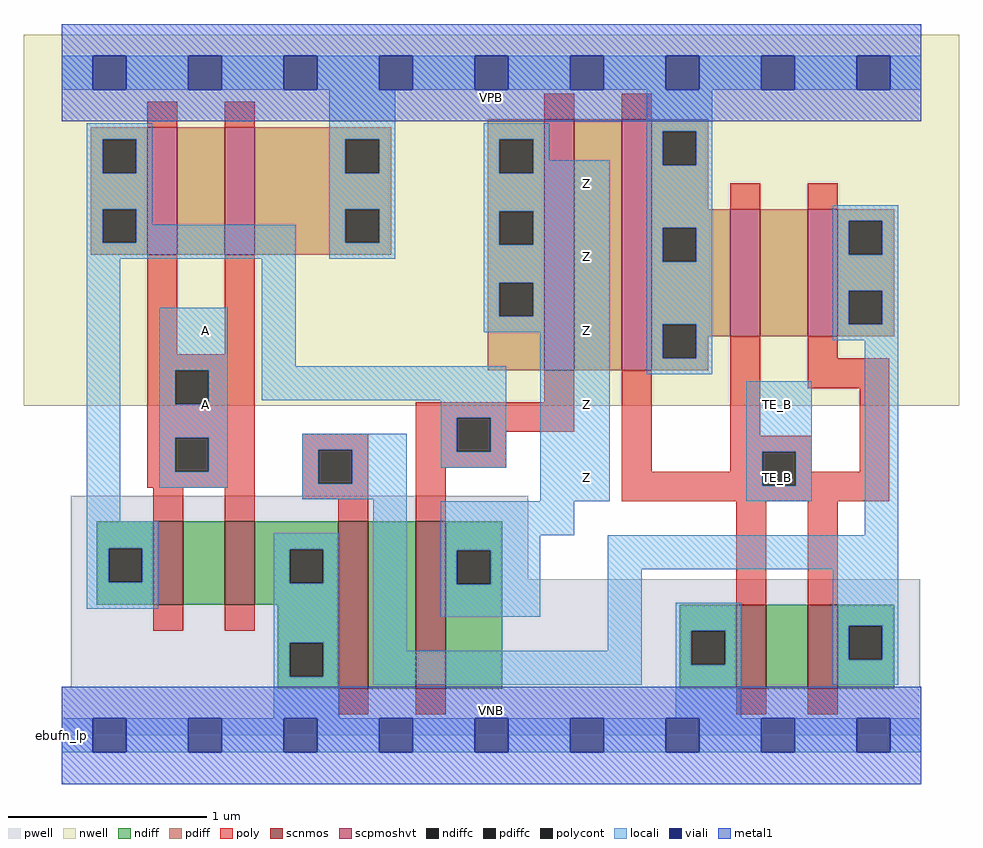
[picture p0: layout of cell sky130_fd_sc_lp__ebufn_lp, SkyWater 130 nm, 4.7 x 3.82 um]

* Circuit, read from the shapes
.subckt sky130_fd_sc_lp__ebufn_lp A TE_B VGND VNB VPB VPWR Z
XM1 n1 A n2 VNB sky130_fd_pr__nfet_01v8 w=0.42 l=0.15
XM2 VGND A n1 VNB sky130_fd_pr__nfet_01v8 w=0.42 l=0.15
XM3 n3 n4 VGND VNB sky130_fd_pr__nfet_01v8 w=0.84 l=0.15
XM4 Z n2 n3 VNB sky130_fd_pr__nfet_01v8 w=0.84 l=0.15
XM5 n5 TE_B VGND VNB sky130_fd_pr__nfet_01v8 w=0.42 l=0.15
XM6 n4 TE_B n5 VNB sky130_fd_pr__nfet_01v8 w=0.42 l=0.15
XM7 n6 A n2 VPB sky130_fd_pr__pfet_01v8_hvt w=0.64 l=0.15
XM8 VPWR A n6 VPB sky130_fd_pr__pfet_01v8_hvt w=0.64 l=0.15
XM9 n7 n2 Z VPB sky130_fd_pr__pfet_01v8_hvt w=1.26 l=0.15
XM10 VPWR TE_B n7 VPB sky130_fd_pr__pfet_01v8_hvt w=1.26 l=0.15
XM11 n8 TE_B VPWR VPB sky130_fd_pr__pfet_01v8_hvt w=0.64 l=0.15
XM12 n4 TE_B n8 VPB sky130_fd_pr__pfet_01v8_hvt w=0.64 l=0.15
.ends

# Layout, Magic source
magic
tech sky130A
magscale 1 2
<< nwell >>
rect -38 331 902 704
<< pwell >>
rect 9 157 469 241
rect 9 49 863 157
rect 0 0 864 49
<< scnmos >>
rect 92 131 122 215
rect 164 131 194 215
rect 278 47 308 215
rect 356 47 386 215
rect 678 47 708 131
rect 750 47 780 131
<< scpmoshvt >>
rect 86 483 116 611
rect 164 483 194 611
rect 485 367 515 619
rect 563 367 593 619
rect 672 401 702 529
rect 750 401 780 529
<< ndiff >>
rect 35 188 92 215
rect 35 154 47 188
rect 81 154 92 188
rect 35 131 92 154
rect 122 131 164 215
rect 194 187 278 215
rect 194 153 229 187
rect 263 153 278 187
rect 194 131 278 153
rect 217 93 278 131
rect 217 59 229 93
rect 263 59 278 93
rect 217 47 278 59
rect 308 47 356 215
rect 386 186 443 215
rect 386 152 397 186
rect 431 152 443 186
rect 386 47 443 152
rect 621 105 678 131
rect 621 71 633 105
rect 667 71 678 105
rect 621 47 678 71
rect 708 47 750 131
rect 780 110 837 131
rect 780 76 791 110
rect 825 76 837 110
rect 780 47 837 76
<< pdiff >>
rect 29 599 86 611
rect 29 565 41 599
rect 75 565 86 599
rect 29 529 86 565
rect 29 495 41 529
rect 75 495 86 529
rect 29 483 86 495
rect 116 483 164 611
rect 194 599 331 611
rect 194 565 285 599
rect 319 565 331 599
rect 194 529 331 565
rect 194 495 285 529
rect 319 495 331 529
rect 194 483 331 495
rect 428 599 485 619
rect 428 565 440 599
rect 474 565 485 599
rect 428 527 485 565
rect 428 493 440 527
rect 474 493 485 527
rect 428 455 485 493
rect 428 421 440 455
rect 474 421 485 455
rect 428 367 485 421
rect 515 367 563 619
rect 593 607 650 619
rect 593 573 604 607
rect 638 573 650 607
rect 593 529 650 573
rect 593 510 672 529
rect 593 476 604 510
rect 638 476 672 510
rect 593 413 672 476
rect 593 379 604 413
rect 638 401 672 413
rect 702 401 750 529
rect 780 517 837 529
rect 780 483 791 517
rect 825 483 837 517
rect 780 447 837 483
rect 780 413 791 447
rect 825 413 837 447
rect 780 401 837 413
rect 638 379 650 401
rect 593 367 650 379
<< ndiffc >>
rect 47 154 81 188
rect 229 153 263 187
rect 229 59 263 93
rect 397 152 431 186
rect 633 71 667 105
rect 791 76 825 110
<< pdiffc >>
rect 41 565 75 599
rect 41 495 75 529
rect 285 565 319 599
rect 285 495 319 529
rect 440 565 474 599
rect 440 493 474 527
rect 440 421 474 455
rect 604 573 638 607
rect 604 476 638 510
rect 604 379 638 413
rect 791 483 825 517
rect 791 413 825 447
<< poly >>
rect 86 611 116 637
rect 164 611 194 637
rect 485 619 515 645
rect 563 619 593 645
rect 86 383 116 483
rect 164 383 194 483
rect 86 367 194 383
rect 672 529 702 555
rect 750 529 780 555
rect 86 333 114 367
rect 148 333 194 367
rect 485 335 515 367
rect 86 299 194 333
rect 356 319 515 335
rect 86 265 114 299
rect 148 265 194 299
rect 86 249 194 265
rect 92 215 122 249
rect 164 215 194 249
rect 242 287 308 303
rect 242 253 258 287
rect 292 253 308 287
rect 242 237 308 253
rect 278 215 308 237
rect 356 285 397 319
rect 431 305 515 319
rect 431 285 447 305
rect 356 269 447 285
rect 356 215 386 269
rect 563 265 593 367
rect 672 301 702 401
rect 750 379 780 401
rect 750 349 832 379
rect 672 285 754 301
rect 672 265 704 285
rect 563 251 704 265
rect 738 265 754 285
rect 802 265 832 349
rect 738 251 832 265
rect 563 235 832 251
rect 92 105 122 131
rect 164 105 194 131
rect 678 131 708 235
rect 750 131 780 235
rect 278 21 308 47
rect 356 21 386 47
rect 678 21 708 47
rect 750 21 780 47
<< polycont >>
rect 114 333 148 367
rect 114 265 148 299
rect 258 253 292 287
rect 397 285 431 319
rect 704 251 738 285
<< locali >>
rect 0 649 31 683
rect 65 649 127 683
rect 161 649 223 683
rect 257 649 319 683
rect 353 649 415 683
rect 449 649 511 683
rect 545 649 607 683
rect 641 649 703 683
rect 737 649 799 683
rect 833 649 864 683
rect 25 599 91 615
rect 25 565 41 599
rect 75 565 91 599
rect 25 529 91 565
rect 25 495 41 529
rect 75 513 91 529
rect 269 599 335 649
rect 269 565 285 599
rect 319 565 335 599
rect 269 529 335 565
rect 75 495 235 513
rect 25 479 235 495
rect 269 495 285 529
rect 319 495 335 529
rect 269 479 335 495
rect 424 599 490 615
rect 424 565 440 599
rect 474 578 490 599
rect 588 607 654 649
rect 474 565 551 578
rect 424 527 551 565
rect 424 493 440 527
rect 474 493 551 527
rect 25 215 59 479
rect 98 367 167 430
rect 98 333 114 367
rect 148 333 167 367
rect 201 371 235 479
rect 424 455 551 493
rect 424 421 440 455
rect 474 421 551 455
rect 424 405 551 421
rect 201 337 447 371
rect 98 299 167 333
rect 381 319 447 337
rect 98 265 114 299
rect 148 265 167 299
rect 98 249 167 265
rect 242 287 347 303
rect 242 253 258 287
rect 292 253 347 287
rect 381 285 397 319
rect 431 285 447 319
rect 381 269 447 285
rect 242 237 347 253
rect 25 188 97 215
rect 25 154 47 188
rect 81 154 97 188
rect 25 127 97 154
rect 213 187 279 203
rect 213 153 229 187
rect 263 153 279 187
rect 213 93 279 153
rect 213 59 229 93
rect 263 59 279 93
rect 213 17 279 59
rect 313 85 347 237
rect 481 235 551 405
rect 588 573 604 607
rect 638 573 654 607
rect 588 510 654 573
rect 588 476 604 510
rect 638 476 654 510
rect 588 413 654 476
rect 588 379 604 413
rect 638 379 654 413
rect 775 517 841 533
rect 775 483 791 517
rect 825 483 841 517
rect 775 447 841 483
rect 775 413 791 447
rect 825 413 841 447
rect 775 397 841 413
rect 588 363 654 379
rect 688 285 754 356
rect 688 251 704 285
rect 738 251 754 285
rect 688 235 754 251
rect 381 201 515 235
rect 807 201 841 397
rect 381 186 481 201
rect 381 152 397 186
rect 431 152 481 186
rect 381 119 481 152
rect 549 167 841 201
rect 549 85 583 167
rect 313 51 583 85
rect 617 105 683 133
rect 617 71 633 105
rect 667 71 683 105
rect 617 17 683 71
rect 775 110 841 167
rect 775 76 791 110
rect 825 76 841 110
rect 775 51 841 76
rect 0 -17 31 17
rect 65 -17 127 17
rect 161 -17 223 17
rect 257 -17 319 17
rect 353 -17 415 17
rect 449 -17 511 17
rect 545 -17 607 17
rect 641 -17 703 17
rect 737 -17 799 17
rect 833 -17 864 17
<< viali >>
rect 31 649 65 683
rect 127 649 161 683
rect 223 649 257 683
rect 319 649 353 683
rect 415 649 449 683
rect 511 649 545 683
rect 607 649 641 683
rect 703 649 737 683
rect 799 649 833 683
rect 31 -17 65 17
rect 127 -17 161 17
rect 223 -17 257 17
rect 319 -17 353 17
rect 415 -17 449 17
rect 511 -17 545 17
rect 607 -17 641 17
rect 703 -17 737 17
rect 799 -17 833 17
<< metal1 >>
rect 0 683 864 715
rect 0 649 31 683
rect 65 649 127 683
rect 161 649 223 683
rect 257 649 319 683
rect 353 649 415 683
rect 449 649 511 683
rect 545 649 607 683
rect 641 649 703 683
rect 737 649 799 683
rect 833 649 864 683
rect 0 617 864 649
rect 0 17 864 49
rect 0 -17 31 17
rect 65 -17 127 17
rect 161 -17 223 17
rect 257 -17 319 17
rect 353 -17 415 17
rect 449 -17 511 17
rect 545 -17 607 17
rect 641 -17 703 17
rect 737 -17 799 17
rect 833 -17 864 17
rect 0 -49 864 -17
<< labels >>
flabel pwell s 0 0 864 49 0 FreeSans 200 0 0 0 VNB
port 4 nsew ground bidirectional
flabel nwell s 0 617 864 666 0 FreeSans 200 0 0 0 VPB
port 5 nsew power bidirectional
rlabel comment s 0 0 0 0 4 ebufn_lp
flabel metal1 s 0 617 864 666 0 FreeSans 340 0 0 0 VPWR
port 6 nsew power bidirectional
flabel metal1 s 0 0 864 49 0 FreeSans 340 0 0 0 VGND
port 3 nsew ground bidirectional
flabel locali s 127 316 161 350 0 FreeSans 340 0 0 0 A
port 1 nsew signal input
flabel locali s 127 390 161 424 0 FreeSans 340 0 0 0 A
port 1 nsew signal input
flabel locali s 703 242 737 276 0 FreeSans 340 0 0 0 TE_B
port 2 nsew signal input
flabel locali s 703 316 737 350 0 FreeSans 340 0 0 0 TE_B
port 2 nsew signal input
flabel locali s 511 242 545 276 0 FreeSans 340 0 0 0 Z
port 7 nsew signal output
flabel locali s 511 316 545 350 0 FreeSans 340 0 0 0 Z
port 7 nsew signal output
flabel locali s 511 390 545 424 0 FreeSans 340 0 0 0 Z
port 7 nsew signal output
flabel locali s 511 464 545 498 0 FreeSans 340 0 0 0 Z
port 7 nsew signal output
flabel locali s 511 538 545 572 0 FreeSans 340 0 0 0 Z
port 7 nsew signal output
<< properties >>
string LEFsite unit
string LEFclass CORE
string FIXED_BBOX 0 0 864 666
string GDS_FILE $PDKPATH/libs.ref/sky130_fd_sc_lp/gds/sky130_fd_sc_lp.gds
string LEFsymmetry X Y R90
string GDS_END 3345586
string GDS_START 3338706
<< end >>
